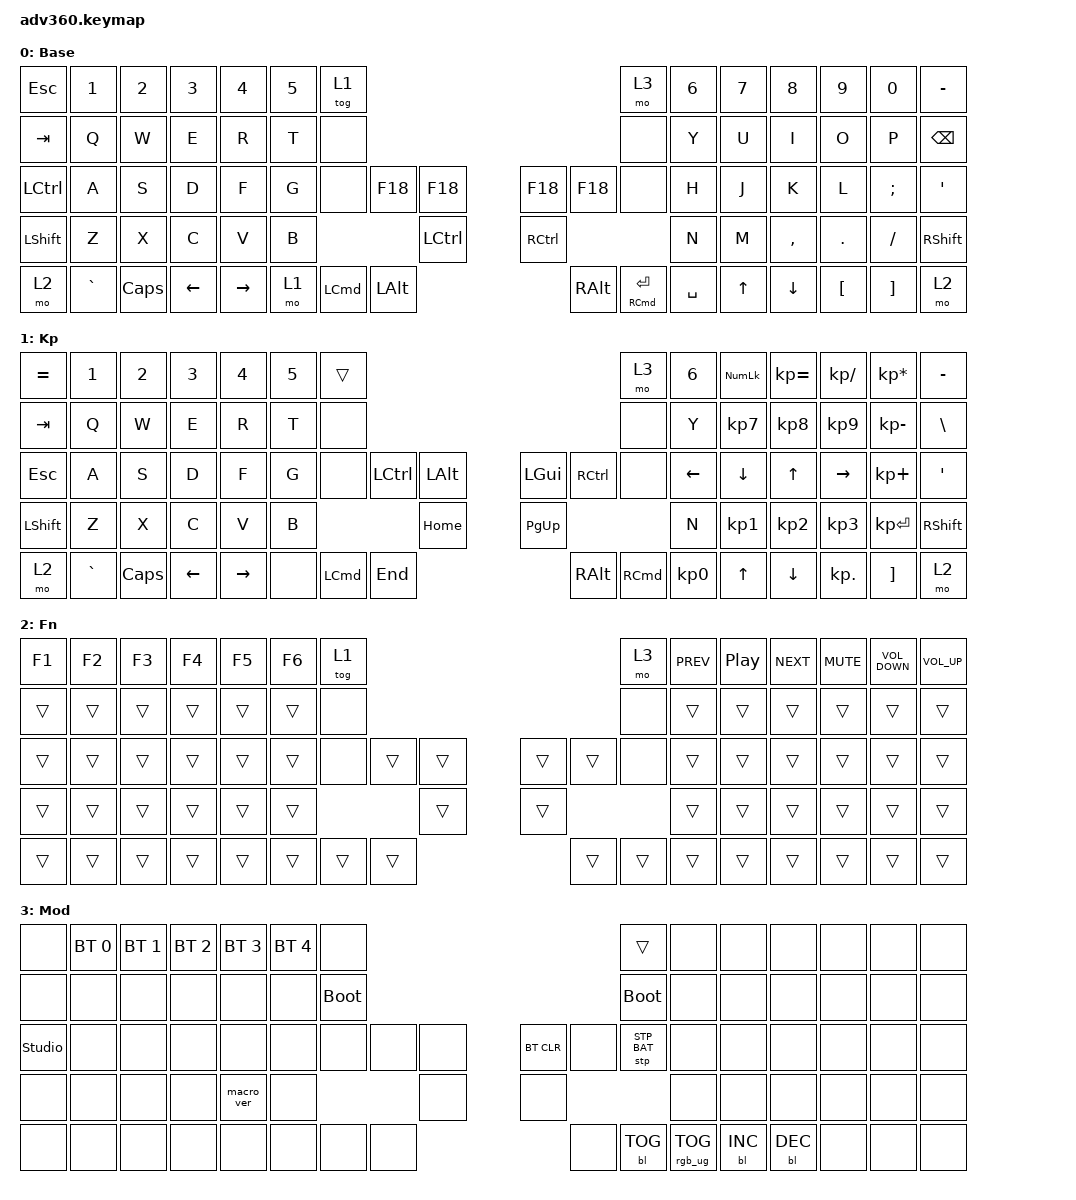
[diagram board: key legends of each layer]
#include <behaviors.dtsi>
#include <dt-bindings/zmk/keys.h>
#include <dt-bindings/zmk/bt.h>
#include <dt-bindings/zmk/rgb.h>
#include <dt-bindings/zmk/stp.h>
#include <dt-bindings/zmk/backlight.h>
#include <dt-bindings/zmk/pointing.h>

/ {
    behaviors {
      #include "macros.dtsi"
      #include "version.dtsi"

      hm: homerow_mods {
          compatible = "zmk,behavior-hold-tap";
          label = "HOMEROW_MODS";
          #binding-cells = <2>;
          tapping-term-ms = <200>;
          quick_tap_ms = <175>;
          flavor = "tap-preferred";
          bindings = <&kp>, <&kp>;
      };
    };

  keymap {
    compatible = "zmk,keymap";

    default_layer {
      display-name = "Base";
      bindings = <
          &kp ESC     &kp N1    &kp N2    &kp N3     &kp N4  &kp N5            &tog 1                                                                                 &mo 3  &kp N6  &kp N7     &kp N8    &kp N9    &kp N0      &kp MINUS
          &kp TAB      &kp Q     &kp W     &kp E      &kp R   &kp T             &none                                                                                 &none   &kp Y   &kp U      &kp I     &kp O     &kp P  &kp BACKSPACE
 &kp LEFT_CONTROL      &kp A     &kp S     &kp D      &kp F   &kp G             &none   &kp F18           &kp F18                        &kp F18         &kp F18      &none   &kp H   &kp J      &kp K     &kp L  &kp SEMI        &kp SQT
        &kp LSHFT      &kp Z     &kp X     &kp C      &kp V   &kp B                              &kp LEFT_CONTROL                      &kp RCTRL                              &kp N   &kp M  &kp COMMA   &kp DOT  &kp FSLH      &kp RSHFT
            &mo 2  &kp GRAVE  &kp CAPS  &kp LEFT  &kp RIGHT                     &mo 1  &kp LCMD      &kp LEFT_ALT                  &kp RIGHT_ALT  &mt RCMD ENTER  &kp SPACE          &kp UP   &kp DOWN  &kp LBKT  &kp RBKT          &mo 2
      >;
    };
    keypad {
      display-name = "Kp";
      bindings = <
 &kp EQUAL     &kp N1    &kp N2    &kp N3     &kp N4  &kp N5            &trans                                                                     &mo 3          &kp N6      &kp KP_NUM  &kp KP_EQUAL    &kp KP_DIVIDE  &kp KP_MULTIPLY  &kp MINUS
   &kp TAB      &kp Q     &kp W     &kp E      &kp R   &kp T             &none                                                                     &none           &kp Y       &kp KP_N7     &kp KP_N8        &kp KP_N9     &kp KP_MINUS   &kp BSLH
   &kp ESC      &kp A     &kp S     &kp D      &kp F   &kp G             &none  &kp LCTRL  &kp LALT                       &kp LGUI  &kp RCTRL      &none  &kp LEFT_ARROW  &kp DOWN_ARROW  &kp UP_ARROW  &kp RIGHT_ARROW      &kp KP_PLUS    &kp SQT
 &kp LSHFT      &kp Z     &kp X     &kp C      &kp V   &kp B                               &kp HOME                      &kp PG_UP                                 &kp N       &kp KP_N1     &kp KP_N2        &kp KP_N3     &kp KP_ENTER  &kp RSHFT
     &mo 2  &kp GRAVE  &kp CAPS  &kp LEFT  &kp RIGHT                     &none   &kp LCMD   &kp END                  &kp RIGHT_ALT   &kp RCMD  &kp KP_N0                          &kp UP      &kp DOWN       &kp KP_DOT         &kp RBKT      &mo 2
      >;
    };
    fn {
      display-name = "Fn";
      bindings = <
 &kp F1  &kp F2  &kp F3  &kp F4  &kp F5  &kp F6            &tog 1                                                   &mo 3  &kp C_PREV  &kp C_PP  &kp C_NEXT  &kp C_MUTE  &kp C_VOLUME_DOWN  &kp C_VOLUME_UP
 &trans  &trans  &trans  &trans  &trans  &trans             &none                                                   &none      &trans    &trans      &trans      &trans             &trans           &trans
 &trans  &trans  &trans  &trans  &trans  &trans             &none  &trans  &trans                  &trans  &trans   &none      &trans    &trans      &trans      &trans             &trans           &trans
 &trans  &trans  &trans  &trans  &trans  &trans                            &trans                  &trans                      &trans    &trans      &trans      &trans             &trans           &trans
 &trans  &trans  &trans  &trans  &trans                    &trans  &trans  &trans                  &trans  &trans  &trans                &trans      &trans      &trans             &trans           &trans
      >;
    };
    mod {
      display-name = "Mod";
      bindings = <
        &none &bt BT_SEL 0 &bt BT_SEL 1 &bt BT_SEL 2 &bt BT_SEL 3 &bt BT_SEL 4 &none                                                                     &trans                 &none        &none        &none        &none &none &none
        &none &none        &none        &none        &none        &none        &bootloader                                                               &bootloader            &none        &none        &none        &none &none &none
        &studio_unlock &none        &none        &none        &none        &none        &none                   &none &none &bt BT_CLR &none                      &stp STP_BAT &none        &none        &none        &none &none &none
        &none &none        &none        &none        &macro_ver   &none                                      &none &none                                                        &none        &none        &none        &none &none &none
        &none &none        &none        &none        &none                                       &none &none &none &none      &bl BL_TOG &rgb_ug RGB_TOG                                     &bl BL_INC   &bl BL_DEC   &none &none &none
      >;
    };
    extra1 { 
      display-name = "Red";    
      status = "reserved";
    };

    extra2 { 
      display-name = "Purple";    
      status = "reserved";
    };

    extra3 { 
      display-name = "Cyan";    
      status = "reserved";
    };

    extra4 { 
      display-name = "Yellow";    
      status = "reserved";
    };
  };
};
